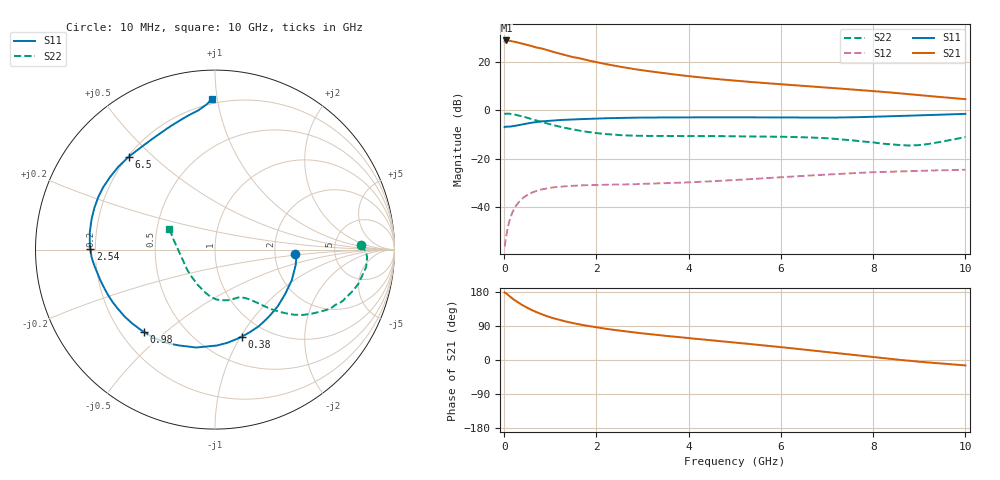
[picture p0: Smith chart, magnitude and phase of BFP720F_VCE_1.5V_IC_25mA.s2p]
! Infineon Technologies  Discrete & RF Semiconductors
! BFP720F
! VCE =  1.5 V,  IC =  25 mA
! Common Emitter S-Parameters:  Jan 2016
# GHz  S  MA  R  50
!  f  S11  S21  S12  S22
! GHz  MAG  ANG  MAG  ANG  MAG  ANG  MAG  ANG
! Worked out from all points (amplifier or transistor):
!   233 points, 10 MHz to 10 GHz, reference 50 ohm
!   highest |S21| = 28.7 dB at 50 MHz (marker M1)
!   |S21| within 3 dB of that: start of sweep to 729.1 MHz
!   unconditionally stable (mu >= 1): start of sweep to 100.6 MHz; 2.787 GHz to end of sweep
!   at 200 MHz: K = 0.60, MSG = 34.7 dB, |S12| = -41.2 dB
!   at 1.74 GHz: K = 0.72, MSG = 25.8 dB, |S12| = -30.9 dB
!   at 10 GHz: K = 1.52, MAG = 10.3 dB, |S12| = -24.5 dB
!   S11 on the Smith chart (normalised r, x): 10 MHz: 2.61, -0.15; 380 MHz: 0.77, -1.01; 980 MHz: 0.29, -0.42; 2.54 GHz: 0.18, +0.00; 6.5 GHz: 0.20, +0.42; 10 GHz: 0.17, +0.96
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0.01  0.4483 -3.0  26.05 178.3  0.0016 5.8  0.8139 1.9
0.02  0.4559 -4.1  26.85 177.6  0.0018 39.4  0.842 -1.1
0.05  0.4576 -10.9  27.07 175.6  0.0027 53.0  0.8486 -2.9
0.1  0.4605 -21.6  26.9 170.0  0.0047 62.5  0.8477 -6.5
0.2  0.4714 -42.1  25.73 160.2  0.0087 65.1  0.8213 -13.4
0.3  0.4917 -60.1  24.55 151.9  0.0123 60.7  0.7813 -19.4
0.38  0.5068 -73.0  23.4 146.0  0.0148 57.2  0.749 -23.7
0.45  0.5242 -82.6  22.57 140.9  0.0168 54.2  0.7231 -27.0
0.6  0.5554 -100.8  20.74 131.6  0.0202 47.6  0.6514 -33.1
0.7  0.5705 -110.6  19.37 126.2  0.0219 44.1  0.6128 -36.4
0.8  0.5872 -117.7  18.72 121.5  0.0233 40.9  0.5762 -39.1
0.98  0.6064 -131.0  16.61 113.6  0.0251 36.3  0.5158 -42.9
1.3  0.6336 -148.4  13.7 102.7  0.0272 30.5  0.4358 -47.8
1.68  0.6546 -161.7  11.36 92.9  0.0284 26.6  0.3723 -52.0
2  0.6709 -169.8  9.697 86.2  0.029 24.8  0.3381 -55.2
2.54  0.6949 179.5  7.736 76.9  0.0297 23.6  0.3062 -60.5
3.4  0.7068 167.4  5.853 65.2  0.0313 25.0  0.2941 -67.4
5.1  0.7123 149.7  3.968 44.8  0.0371 28.6  0.2901 -76.5
6.5  0.7063 132.8  3.158 27.4  0.0446 28.1  0.2777 -88.5
6.8  0.7032 128.4  3.006 23.6  0.0463 27.4  0.2696 -92.3
8.4  0.7512 103.8  2.296 2.6  0.0545 21.4  0.1976 -133.9
10  0.8383 91.2  1.683 -14.3  0.0595 15.4  0.2799 155.3
